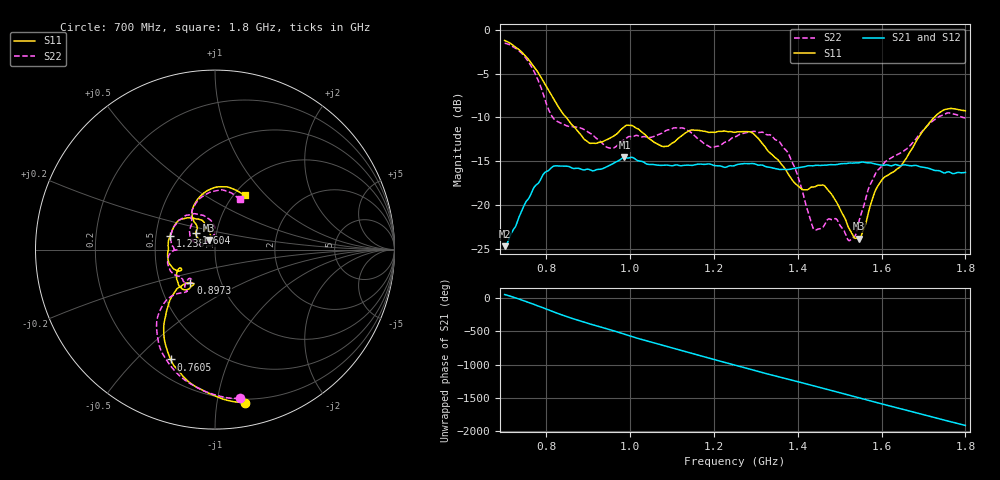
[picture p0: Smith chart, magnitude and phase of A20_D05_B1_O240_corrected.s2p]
! Created with skrf 1.9.0 (http://scikit-rf.org).
# Hz S RI R 50.0
!freq ReS11 ImS11 ReS21 ImS21 ReS12 ImS12 ReS22 ImS22
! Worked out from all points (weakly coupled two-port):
!   1601 points, 700 MHz to 1.8 GHz, reference 50 ohm
!   highest |S21| = -14.57 dB at 986 MHz (marker M1); lowest = -24.7 dB at 700 MHz (marker M2)
!   lowest |S11| = -23.9 dB at 1.546 GHz (marker M3), VSWR 1.14, Z = 46.3 + j4.94 ohm
!   |S11| at or under -10 dB: 846.9 MHz to 1.726 GHz (878.6 MHz wide, 68.3 % of centre)
!   |S22| runs from -24.1 to -1.5 dB; largest |S21 - S12| = 0.0035
!   S11 on the Smith chart (normalised r, x): 700 MHz: 0.17, -1.20; 760.5 MHz: 0.29, -0.63; 897.3 MHz: 0.71, -0.28; 1.238 GHz: 0.59, +0.10; 1.604 GHz: 0.79, +0.15; 1.8 GHz: 1.12, +0.77
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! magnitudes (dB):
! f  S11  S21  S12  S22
! 700 MHz  -1.2  -24.7  -24.5  -1.5
! 760.5 MHz  -3.6  -19.0  -18.9  -3.9
! 816.2 MHz  -7.8  -15.6  -15.7  -10.1
! 883.6 MHz  -12.1  -15.9  -15.8  -11.3
! 897.3 MHz  -12.8  -15.9  -16.0  -11.6
! 948.9 MHz  -12.4  -15.5  -15.6  -13.5
! 986 MHz  -11.1  -14.6  -14.7  -12.6
! 1.067 GHz  -13.1  -15.5  -15.4  -12.0
! 1.238 GHz  -11.6  -15.5  -15.6  -12.5
! 1.25 GHz  -11.7  -15.5  -15.4  -12.2
! 1.292 GHz  -11.8  -15.3  -15.3  -11.6
! 1.357 GHz  -15.1  -16.0  -15.9  -12.9
! 1.394 GHz  -17.6  -15.8  -15.8  -15.9
! 1.434 GHz  -18.0  -15.6  -15.5  -22.3
! 1.468 GHz  -18.1  -15.5  -15.4  -21.9
! 1.524 GHz  -22.8  -15.2  -15.2  -24.1
! 1.546 GHz  -23.9  -15.2  -15.2  -22.0
! 1.572 GHz  -20.3  -15.2  -15.2  -17.8
! 1.604 GHz  -17.0  -15.5  -15.5  -15.3
! 1.617 GHz  -16.5  -15.5  -15.4  -14.8
! 1.734 GHz  -9.6  -16.1  -16.1  -10.0
! 1.8 GHz  -9.3  -16.3  -16.3  -10.1
